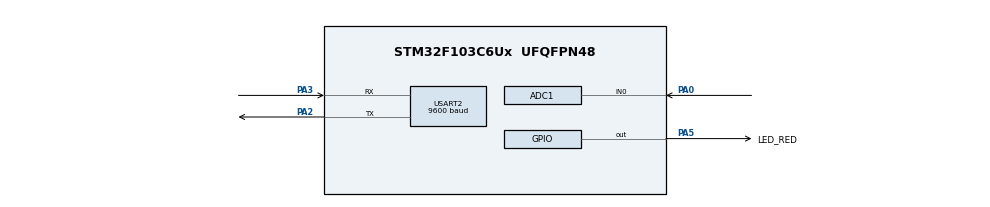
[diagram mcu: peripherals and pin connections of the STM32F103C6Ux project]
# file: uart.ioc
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ADC1.Channel-0\#ChannelRegularConversion=ADC_CHANNEL_0
ADC1.ContinuousConvMode=ENABLE
ADC1.NbrOfConversionFlag=1
ADC1.Rank-0\#ChannelRegularConversion=1
ADC1.SamplingTime-0\#ChannelRegularConversion=ADC_SAMPLETIME_1CYCLE_5
ADC1.master=1
Mcu.Family=STM32F1
Mcu.Name=STM32F103C6Ux
Mcu.Package=UFQFPN48
NVIC.PriorityGroup=NVIC_PRIORITYGROUP_4
NVIC.USART2_IRQn=true\:0\:0\:false\:false\:true\:true\:true\:true
PA0-WKUP.Signal=ADCx_IN0
PA2.Mode=Asynchronous
PA2.Signal=USART2_TX
PA3.Mode=Asynchronous
PA3.Signal=USART2_RX
PA5.GPIO_Label=LED_RED
PA5.Signal=GPIO_Output
ProjectManager.HeapSize=0x200
ProjectManager.StackSize=0x400
ProjectManager.TargetToolchain=CMake
RCC.APB1Freq_Value=8000000
RCC.APB2Freq_Value=8000000
SH.ADCx_IN0.0=ADC1_IN0,IN0
USART2.BaudRate=9600
USART2.VirtualMode=VM_ASYNC
VP_SYS_VS_ND.Mode=No_Debug
board=custom

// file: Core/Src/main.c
/* USER CODE BEGIN Header */
/**
  ******************************************************************************
  * @file           : main.c
  * @brief          : Main program body
  ******************************************************************************
  * @attention
  *
  * Copyright (c) 2025 STMicroelectronics.
  * All rights reserved.
  *
  * This software is licensed under terms that can be found in the LICENSE file
  * in the root directory of this software component.
  * If no LICENSE file comes with this software, it is provided AS-IS.
  *
  ******************************************************************************
  */
/* USER CODE END Header */
#include "main.h"

/* USER CODE BEGIN Includes */
#include "command_parser.h"
#include "uart_communication.h"
/* USER CODE END Includes */

ADC_HandleTypeDef hadc1;

UART_HandleTypeDef huart2;

/* USER CODE BEGIN PV */
uint8_t buffer[30];
uint8_t index_buffer = 0;
uint8_t buffer_flag = 0;
uint8_t temp = 0;
/* USER CODE END PV */

void SystemClock_Config(void);
static void MX_GPIO_Init(void);
static void MX_ADC1_Init(void);
static void MX_USART2_UART_Init(void);

int main(void)
{

  /* MCU Configuration--------------------------------------------------------*/

  /* Reset of all peripherals, Initializes the Flash interface and the Systick. */
  HAL_Init();

  /* Configure the system clock */
  SystemClock_Config();

  /* Initialize all configured peripherals */
  MX_GPIO_Init();
  MX_ADC1_Init();
  MX_USART2_UART_Init();
  /* USER CODE BEGIN 2 */
  HAL_UART_Receive_IT(&huart2, &temp, 1);
  /* USER CODE END 2 */

  /* Infinite loop */
  while (1)
  {

    /* USER CODE BEGIN 3 */
    // Check if buffer has data
    if (buffer_flag == 1) {
      command_parser_fsm();
      buffer_flag = 0;
    }

    // Run communication FSM
    uart_communication_fsm();
  }
  /* USER CODE END 3 */
}

void SystemClock_Config(void)
{
  RCC_OscInitTypeDef RCC_OscInitStruct = {0};
  RCC_ClkInitTypeDef RCC_ClkInitStruct = {0};
  RCC_PeriphCLKInitTypeDef PeriphClkInit = {0};

  /** Initializes the RCC Oscillators according to the specified parameters
  * in the RCC_OscInitTypeDef structure.
  */
  RCC_OscInitStruct.OscillatorType = RCC_OSCILLATORTYPE_HSI;
  RCC_OscInitStruct.HSIState = RCC_HSI_ON;
  RCC_OscInitStruct.HSICalibrationValue = RCC_HSICALIBRATION_DEFAULT;
  RCC_OscInitStruct.PLL.PLLState = RCC_PLL_NONE;
  if (HAL_RCC_OscConfig(&RCC_OscInitStruct) != HAL_OK)
  {
    Error_Handler();
  }

  /** Initializes the CPU, AHB and APB buses clocks
  */
  RCC_ClkInitStruct.ClockType = RCC_CLOCKTYPE_HCLK|RCC_CLOCKTYPE_SYSCLK
                              |RCC_CLOCKTYPE_PCLK1|RCC_CLOCKTYPE_PCLK2;
  RCC_ClkInitStruct.SYSCLKSource = RCC_SYSCLKSOURCE_HSI;
  RCC_ClkInitStruct.AHBCLKDivider = RCC_SYSCLK_DIV1;
  RCC_ClkInitStruct.APB1CLKDivider = RCC_HCLK_DIV1;
  RCC_ClkInitStruct.APB2CLKDivider = RCC_HCLK_DIV1;

  if (HAL_RCC_ClockConfig(&RCC_ClkInitStruct, FLASH_LATENCY_0) != HAL_OK)
  {
    Error_Handler();
  }
  PeriphClkInit.PeriphClockSelection = RCC_PERIPHCLK_ADC;
  PeriphClkInit.AdcClockSelection = RCC_ADCPCLK2_DIV2;
  if (HAL_RCCEx_PeriphCLKConfig(&PeriphClkInit) != HAL_OK)
  {
    Error_Handler();
  }
}

static void MX_ADC1_Init(void)
{

  ADC_ChannelConfTypeDef sConfig = {0};

  /** Common config
  */
  hadc1.Instance = ADC1;
  hadc1.Init.ScanConvMode = ADC_SCAN_DISABLE;
  hadc1.Init.ContinuousConvMode = ENABLE;
  hadc1.Init.DiscontinuousConvMode = DISABLE;
  hadc1.Init.ExternalTrigConv = ADC_SOFTWARE_START;
  hadc1.Init.DataAlign = ADC_DATAALIGN_RIGHT;
  hadc1.Init.NbrOfConversion = 1;
  if (HAL_ADC_Init(&hadc1) != HAL_OK)
  {
    Error_Handler();
  }

  /** Configure Regular Channel
  */
  sConfig.Channel = ADC_CHANNEL_0;
  sConfig.Rank = ADC_REGULAR_RANK_1;
  sConfig.SamplingTime = ADC_SAMPLETIME_1CYCLE_5;
  if (HAL_ADC_ConfigChannel(&hadc1, &sConfig) != HAL_OK)
  {
    Error_Handler();
  }

}

static void MX_USART2_UART_Init(void)
{

  huart2.Instance = USART2;
  huart2.Init.BaudRate = 9600;
  huart2.Init.WordLength = UART_WORDLENGTH_8B;
  huart2.Init.StopBits = UART_STOPBITS_1;
  huart2.Init.Parity = UART_PARITY_NONE;
  huart2.Init.Mode = UART_MODE_TX_RX;
  huart2.Init.HwFlowCtl = UART_HWCONTROL_NONE;
  huart2.Init.OverSampling = UART_OVERSAMPLING_16;
  if (HAL_UART_Init(&huart2) != HAL_OK)
  {
    Error_Handler();
  }

}

static void MX_GPIO_Init(void)
{
  GPIO_InitTypeDef GPIO_InitStruct = {0};

  /* GPIO Ports Clock Enable */
  __HAL_RCC_GPIOA_CLK_ENABLE();

  /*Configure GPIO pin Output Level */
  HAL_GPIO_WritePin(LED_RED_GPIO_Port, LED_RED_Pin, GPIO_PIN_RESET);

  /*Configure GPIO pin : LED_RED_Pin */
  GPIO_InitStruct.Pin = LED_RED_Pin;
  GPIO_InitStruct.Mode = GPIO_MODE_OUTPUT_PP;
  GPIO_InitStruct.Pull = GPIO_NOPULL;
  GPIO_InitStruct.Speed = GPIO_SPEED_FREQ_LOW;
  HAL_GPIO_Init(LED_RED_GPIO_Port, &GPIO_InitStruct);

}

/* USER CODE BEGIN 4 */
// UART Receive Interrupt Callback
void HAL_UART_RxCpltCallback(UART_HandleTypeDef *huart) {
  if (huart->Instance == USART2) {
    buffer[index_buffer++] = temp;

    // Wrap around if buffer full
    if (index_buffer >= 30) {
      index_buffer = 0;
    }

    buffer_flag = 1;

    // Re-enable receive interrupt
    HAL_UART_Receive_IT(&huart2, &temp, 1);
  }
}
/* USER CODE END 4 */

void Error_Handler(void)
{
  __disable_irq();
  while (1)
  {
  }
}
